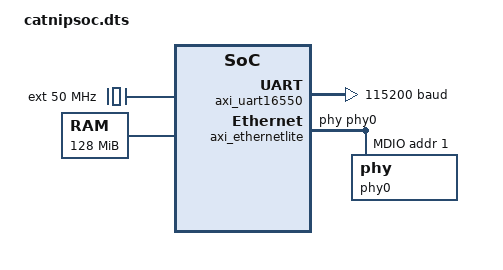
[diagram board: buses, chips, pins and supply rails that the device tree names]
/dts-v1/;

#include <dt-bindings/interrupt-controller/irq.h>

/ {
    compatible = "CatnipSoC,RickyTino";
    #address_cells = <1>;
    #size_cells = <1>;

    chosen {
        bootargs = "console=ttyS0,115200n8 init=/sbin/init initcall_debug=1 loglevel=20";
    };

    aliases {
        serial0 = &axi_uart16550;
    };

    cpus {
        #address-cells = <1>;
        #size-cells = <0>;
        mips-hpt-frequency = <50000000>;
        cpu@0 {
            device_type  = "cpu";
            compatible = "mips,m4Kc";
            clocks = <&ext>;
            reg = <0>;
        };
    };

    ext: ext {
        compatible = "fixed-clock";
        #clock-cells = <0>;
        clock-frequency = <50000000>;
    };

    memory {
        device_type = "memory";
        reg = <0x0 0x08000000>;
    };

    cpuintc: interrupt-controller@0 {
        #address-cells = <0>;
        #interrupt-cells = <1>;
        interrupt-controller;
        compatible = "mti,cpu-interrupt-controller";
    };

    soc {
        compatible = "simple-bus";
        #address-cells = <1>;
        #size-cells = <1>;
        #interrupt-cells = <1>;
        ranges;

        axi_uart16550: serial@10400000 {
            compatible = "ns16550a";
            reg = <0x10400000 0x10000>;
            reg-shift = <2>;
            reg-offset = <0x1000>;
            reg-io-width = <4>;
            current-speed = <115200>;
            clock-frequency = <50000000>;
            status = "okay";
            interrupt-parent = <&cpuintc>;
            interrupts = <2>;
        };

        axi_intc_0: interrupt-controller@10200000 {
            #interrupt-cells = <1>;
            compatible = "xlnx,xps-intc-1.00.a";
            interrupt-controller;
            interrupt-parent = <&cpuintc>;
            interrupts = <3>;
            reg = <0x10200000 0x1000>;
            xlnx,kind-of-intr = <0x1>;
            xlnx,num-intr-inputs = <0x2>;
        };

        axi_ethernetlite: ethernet@10e00000 {
            compatible = "xlnx,xps-ethernetlite-3.00.a";
            device_type = "network";
            interrupt-parent = <&axi_intc_0>;
            interrupts = <1>;
            local-mac-address = [08 86 4C 0D F7 09];
            phy-handle = <&phy0>;
            reg = <0x10e00000 0x10000>;
            xlnx,duplex = <0x1>;
            xlnx,include-global-buffers = <0x1>;
            xlnx,include-internal-loopback = <0x0>;
            xlnx,include-mdio = <0x1>;
            xlnx,instance = "axi_ethernetlite_inst";
            xlnx,rx-ping-pong = <0x1>;
            xlnx,s-axi-id-width = <0x1>;
            xlnx,tx-ping-pong = <0x1>;
            xlnx,use-internal = <0x0>;
            mdio {
                #address-cells = <1>;
                #size-cells = <0>;
                phy0: phy@1 {
                    device_type = "ethernet-phy";
                    interrupt-parent = <&axi_intc_0>;
                    interrupts = <0>;
                    reg = <1>;
                };
            };
        };
    };
};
